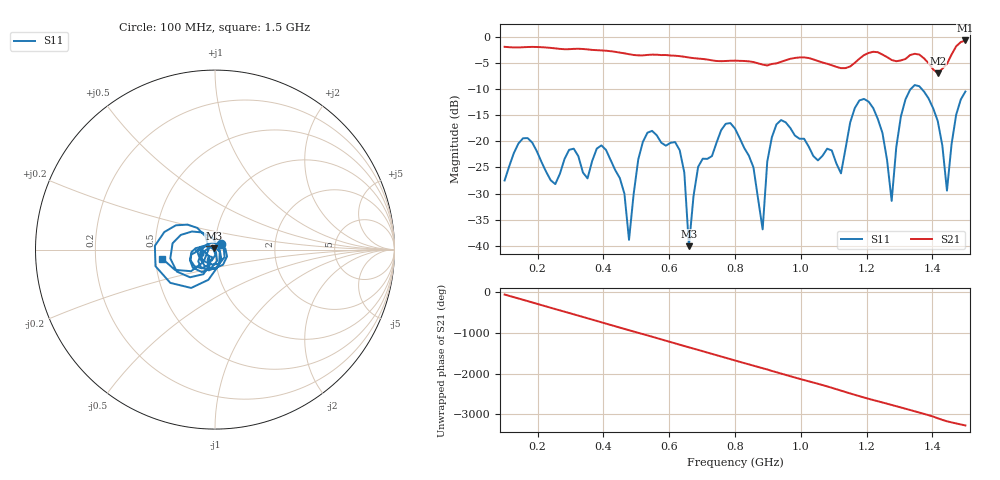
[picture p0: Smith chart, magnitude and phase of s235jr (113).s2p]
! NanoVNA-App
! Date: 2025-09-25 15:05:02
! Start: 100MHz Stop: 1,5GHz Points: 101
! S-Parameter data: F S11 S21 S12 S22
# Hz S RI R 50
!  Frequency  S11_Real  S11_Imag  S21_Real  S21_Imag  S12_Real  S12_Imag  S22_Real  S22_Imag
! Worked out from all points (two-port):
!   101 points, 100 MHz to 1.5 GHz, reference 50 ohm
!   highest |S21| = -0.75 dB at 1.5 GHz (marker M1); lowest = -7.0 dB at 1.416 GHz (marker M2)
!   |S21| within 3 dB of the highest: start of sweep to 632.9 MHz; 1.188 GHz to 1.257 GHz (69.05 MHz wide, 5.65 % of centre) (the widest 2 of 4)
!   lowest |S11| = -40.0 dB at 660 MHz (marker M3), VSWR 1.02, Z = 49.2 + j0.646 ohm
!   |S11| at or under -10 dB: start of sweep to 1.335 GHz; 1.367 GHz to end of sweep
!   S12 and S22 are empty: the file has one direction only
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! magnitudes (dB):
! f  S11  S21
! 100 MHz  -27.5  -2.0
! 156 MHz  -19.4  -2.0
! 338 MHz  -26.0  -2.4
! 408 MHz  -21.6  -2.7
! 478 MHz  -38.8  -3.4
! 520 MHz  -20.1  -3.6
! 576 MHz  -20.3  -3.5
! 632 MHz  -21.7  -3.7
! 660 MHz  -40.0  -4.0
! 688 MHz  -24.9  -4.2
! 800 MHz  -17.6  -4.6
! 884 MHz  -36.8  -5.4
! 926 MHz  -16.8  -5.1
! 1.038 GHz  -22.8  -4.4
! 1.122 GHz  -26.1  -6.0
! 1.192 GHz  -11.9  -3.5
! 1.248 GHz  -18.4  -3.4
! 1.276 GHz  -31.4  -4.5
! 1.332 GHz  -10.2  -3.5
! 1.416 GHz  -16.1  -7.0
! 1.444 GHz  -29.4  -5.2
! 1.5 GHz  -10.5  -0.7
